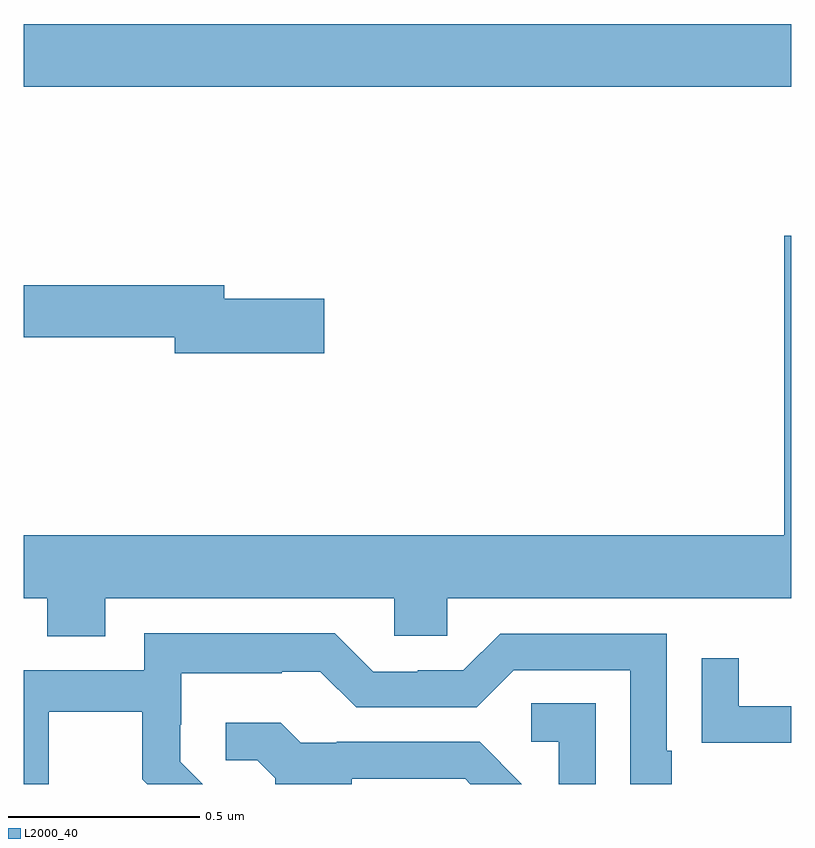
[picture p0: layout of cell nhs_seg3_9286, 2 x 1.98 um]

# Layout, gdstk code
import gdstk
lib = gdstk.Library(unit=1e-6, precision=1e-09)
def R(c, l, rs):  # rectangles x0, y0, x1, y1
    for r in rs: c.add(gdstk.rectangle(r[:2], r[2:], *l))
def P(c, l, *ps):  # polygons
    for p in ps: c.add(gdstk.Polygon(p, *l))
L2000_40 = (2000, 40)

nhs_seg3_9286 = lib.new_cell('nhs_seg3_9286')
R(nhs_seg3_9286, L2000_40, [(226,734.216,228,734.38)])
P(nhs_seg3_9286, L2000_40, [(226.213,732.884),(226.965,732.884),(226.965,732.786),(227.103,732.786),(227.103,732.884),(228,732.884),(228,733.828),(227.981,733.828),(227.981,733.048),(226,733.048),(226,732.884),(226.061,732.884),(226.061,732.785),(226.213,732.785)],
  [(226.783,733.664),(226.522,733.664),(226.522,733.7),(226,733.7),(226,733.564),(226.394,733.564),(226.394,733.522),(226.783,733.522)],
  [(226.065,732.588),(226.309,732.588),(226.309,732.413),(226.322,732.4),(226.466,732.4),(226.408,732.458),(226.408,732.555),(226.41,732.555),(226.41,732.689),(226.673,732.689),(226.673,732.693),(226.773,732.693),(226.866,732.6),(227.181,732.6),(227.277,732.696),(227.58,732.696),(227.58,732.4),(227.689,732.4),(227.689,732.487),(227.676,732.487),(227.676,732.792),(227.241,732.792),(227.145,732.696),(227.027,732.696),(227.027,732.693),(226.911,732.693),(226.811,732.793),(226.314,732.793),(226.314,732.696),(226,732.696),(226,732.4),(226.065,732.4)],
  [(228,732.603),(227.863,732.603),(227.863,732.727),(227.767,732.727),(227.767,732.508),(227.869,732.508),(227.869,732.507),(228,732.507)],
  [(227.49,732.611),(227.322,732.611),(227.322,732.51),(227.394,732.51),(227.394,732.4),(227.49,732.4)],
  [(226.855,732.414),(227.15,732.414),(227.164,732.4),(227.298,732.4),(227.188,732.51),(226.816,732.51),(226.816,732.507),(226.722,732.507),(226.67,732.559),(226.527,732.559),(226.527,732.462),(226.608,732.462),(226.655,732.415),(226.655,732.4),(226.855,732.4)])

lib.write_gds('nhs_seg3_9286.gds')
